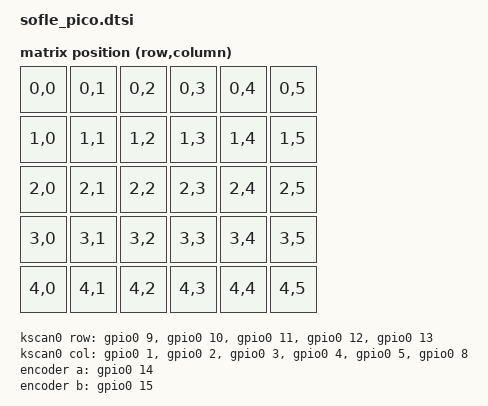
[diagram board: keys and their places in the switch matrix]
#include <dt-bindings/zmk/matrix_transform.h>

/ {
    chosen {
        zmk,kscan = &kscan0;
        zmk,matrix_transform = &default_transform;
    };

    default_transform: keymap_transform_0 {
        compatible = "zmk,matrix-transform";
        columns = <6>;
        rows = <5>;
        //  Row 0: `  1  2  3  4  5
        //  Row 1: ESC Q  W  E  R  T
        //  Row 2: TAB A  S  D  F  G
        //  Row 3: SHF Z  X  C  V  B  (+ encoder btn at R4,C5)
        //  Row 4: GUI ALT CTL LWR ENT SPC
        map =
            RC(0,0) RC(0,1) RC(0,2) RC(0,3) RC(0,4) RC(0,5)
            RC(1,0) RC(1,1) RC(1,2) RC(1,3) RC(1,4) RC(1,5)
            RC(2,0) RC(2,1) RC(2,2) RC(2,3) RC(2,4) RC(2,5)
            RC(3,0) RC(3,1) RC(3,2) RC(3,3) RC(3,4) RC(3,5)
            RC(4,0) RC(4,1) RC(4,2) RC(4,3) RC(4,4) RC(4,5)
        >;
    };

    kscan0: kscan {
        compatible = "zmk,kscan-gpio-matrix";
        label = "KSCAN";
        diode-direction = "col2row";

        col-gpios
            = <&gpio0 1 GPIO_ACTIVE_HIGH>   // GP1
            , <&gpio0 2 GPIO_ACTIVE_HIGH>   // GP2
            , <&gpio0 3 GPIO_ACTIVE_HIGH>   // GP3
            , <&gpio0 4 GPIO_ACTIVE_HIGH>   // GP4
            , <&gpio0 5 GPIO_ACTIVE_HIGH>   // GP5
            , <&gpio0 8 GPIO_ACTIVE_HIGH>   // GP8
            ;

        row-gpios
            = <&gpio0 9  (GPIO_ACTIVE_HIGH | GPIO_PULL_DOWN)>  // GP9
            , <&gpio0 10 (GPIO_ACTIVE_HIGH | GPIO_PULL_DOWN)>  // GP10
            , <&gpio0 11 (GPIO_ACTIVE_HIGH | GPIO_PULL_DOWN)>  // GP11
            , <&gpio0 12 (GPIO_ACTIVE_HIGH | GPIO_PULL_DOWN)>  // GP12
            , <&gpio0 13 (GPIO_ACTIVE_HIGH | GPIO_PULL_DOWN)>  // GP13
            ;
    };

    encoder: encoder {
        compatible = "alps,ec11";
        label = "ENCODER";
        a-gpios = <&gpio0 14 (GPIO_ACTIVE_HIGH | GPIO_PULL_UP)>;  // GP14
        b-gpios = <&gpio0 15 (GPIO_ACTIVE_HIGH | GPIO_PULL_UP)>;  // GP15
        steps = <80>;
        status = "okay";
    };

    sensors {
        compatible = "zmk,keymap-sensors";
        sensors = <&encoder>;
    };
};
